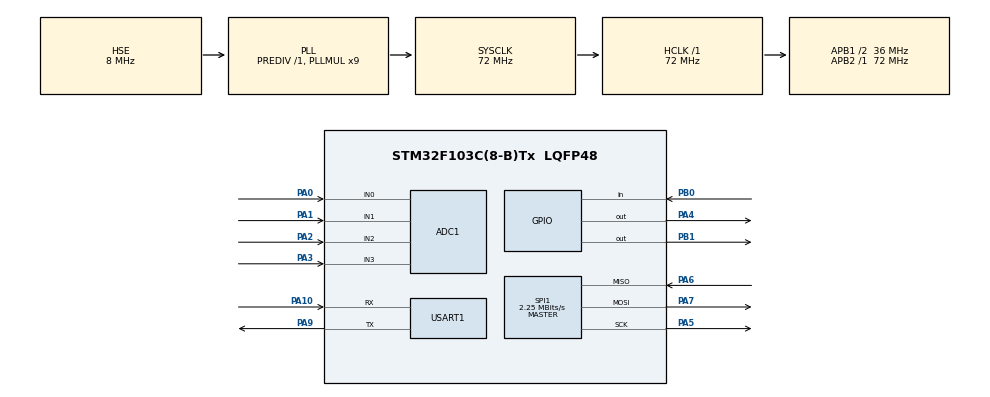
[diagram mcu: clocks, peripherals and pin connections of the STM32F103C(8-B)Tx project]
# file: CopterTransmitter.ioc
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ADC1.Channel-0\#ChannelRegularConversion=ADC_CHANNEL_0
ADC1.Channel-1\#ChannelRegularConversion=ADC_CHANNEL_1
ADC1.Channel-2\#ChannelRegularConversion=ADC_CHANNEL_2
ADC1.Channel-3\#ChannelRegularConversion=ADC_CHANNEL_3
ADC1.ContinuousConvMode=DISABLE
ADC1.ExternalTrigConv=ADC_EXTERNALTRIGCONV_T4_CC4
ADC1.NbrOfConversion=4
ADC1.NbrOfConversionFlag=1
ADC1.Rank-0\#ChannelRegularConversion=1
ADC1.Rank-1\#ChannelRegularConversion=2
ADC1.Rank-2\#ChannelRegularConversion=3
ADC1.Rank-3\#ChannelRegularConversion=4
ADC1.SamplingTime-0\#ChannelRegularConversion=ADC_SAMPLETIME_41CYCLES_5
ADC1.SamplingTime-1\#ChannelRegularConversion=ADC_SAMPLETIME_41CYCLES_5
ADC1.SamplingTime-2\#ChannelRegularConversion=ADC_SAMPLETIME_41CYCLES_5
ADC1.SamplingTime-3\#ChannelRegularConversion=ADC_SAMPLETIME_41CYCLES_5
ADC1.master=1
Dma.ADC1.0.Direction=DMA_PERIPH_TO_MEMORY
Dma.ADC1.0.Instance=DMA1_Channel1
Dma.ADC1.0.MemDataAlignment=DMA_MDATAALIGN_HALFWORD
Dma.ADC1.0.MemInc=DMA_MINC_ENABLE
Dma.ADC1.0.Mode=DMA_CIRCULAR
Dma.ADC1.0.PeriphDataAlignment=DMA_PDATAALIGN_HALFWORD
Dma.ADC1.0.PeriphInc=DMA_PINC_DISABLE
Dma.ADC1.0.Priority=DMA_PRIORITY_LOW
Dma.Request0=ADC1
Mcu.Family=STM32F1
Mcu.Name=STM32F103C(8-B)Tx
Mcu.Package=LQFP48
NVIC.ADC1_2_IRQn=true\:0\:0\:false\:false\:true\:true\:true
NVIC.DMA1_Channel1_IRQn=true\:0\:0\:false\:false\:true\:false\:true
NVIC.PriorityGroup=NVIC_PRIORITYGROUP_4
PA0-WKUP.Signal=ADCx_IN0
PA1.Signal=ADCx_IN1
PA10.Mode=Asynchronous
PA10.Signal=USART1_RX
PA13.Mode=Serial_Wire
PA13.Signal=SYS_JTMS-SWDIO
PA14.Mode=Serial_Wire
PA14.Signal=SYS_JTCK-SWCLK
PA2.Signal=ADCx_IN2
PA3.Signal=ADCx_IN3
PA4.GPIO_PuPd=GPIO_PULLUP
PA4.GPIO_Speed=GPIO_SPEED_FREQ_HIGH
PA4.PinState=GPIO_PIN_SET
PA4.Signal=GPIO_Output
PA5.Mode=Full_Duplex_Master
PA5.Signal=SPI1_SCK
PA6.Mode=Full_Duplex_Master
PA6.Signal=SPI1_MISO
PA7.Mode=Full_Duplex_Master
PA7.Signal=SPI1_MOSI
PA9.Mode=Asynchronous
PA9.Signal=USART1_TX
PB0.Signal=GPIO_Input
PB1.GPIO_Speed=GPIO_SPEED_FREQ_HIGH
PB1.Signal=GPIO_Output
PD0-OSC_IN.Mode=HSE-External-Oscillator
PD0-OSC_IN.Signal=RCC_OSC_IN
PD1-OSC_OUT.Mode=HSE-External-Oscillator
PD1-OSC_OUT.Signal=RCC_OSC_OUT
ProjectManager.HeapSize=0x200
ProjectManager.StackSize=0x400
ProjectManager.TargetToolchain=TrueSTUDIO
RCC.ADCPresc=RCC_ADCPCLK2_DIV6
RCC.AHBFreq_Value=72000000
RCC.APB1CLKDivider=RCC_HCLK_DIV2
RCC.APB1Freq_Value=36000000
RCC.APB1TimFreq_Value=72000000
RCC.APB2Freq_Value=72000000
RCC.APB2TimFreq_Value=72000000
RCC.HCLKFreq_Value=72000000
RCC.PLLMUL=RCC_PLL_MUL9
RCC.PLLSourceVirtual=RCC_PLLSOURCE_HSE
RCC.SYSCLKFreq_VALUE=72000000
RCC.SYSCLKSource=RCC_SYSCLKSOURCE_PLLCLK
RCC.USBFreq_Value=72000000
SH.ADCx_IN0.0=ADC1_IN0,IN0
SH.ADCx_IN1.0=ADC1_IN1,IN1
SH.ADCx_IN2.0=ADC1_IN2,IN2
SH.ADCx_IN3.0=ADC1_IN3,IN3
SPI1.BaudRatePrescaler=SPI_BAUDRATEPRESCALER_32
SPI1.CalculateBaudRate=2.25 MBits/s
SPI1.Direction=SPI_DIRECTION_2LINES
SPI1.Mode=SPI_MODE_MASTER
SPI1.VirtualType=VM_MASTER
TIM4.Channel-Output\ Compare4\ No\ Output=TIM_CHANNEL_4
TIM4.ClockDivision=TIM_CLOCKDIVISION_DIV2
TIM4.OCMode_4=TIM_OCMODE_TOGGLE
TIM4.Period=999
TIM4.Prescaler=35999
USART1.VirtualMode=VM_ASYNC
VP_TIM4_VS_ClockSourceINT.Mode=Internal
VP_TIM4_VS_no_output4.Mode=Output Compare4 No Output
board=custom

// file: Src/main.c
/* USER CODE BEGIN Header */
/**
  ******************************************************************************
  * @file           : main.c
  * @brief          : Main program body
  ******************************************************************************
  * @attention
  *
  * <h2><center>&copy; Copyright (c) 2019 STMicroelectronics.
  * All rights reserved.</center></h2>
  *
  * This software component is licensed by ST under BSD 3-Clause license,
  * the "License"; You may not use this file except in compliance with the
  * License. You may obtain a copy of the License at:
  *                        opensource.org/licenses/BSD-3-Clause
  *
  ******************************************************************************
  */
/* USER CODE END Header */

#include "main.h"
#include "adc.h"
#include "dma.h"
#include "spi.h"
#include "tim.h"
#include "usart.h"
#include "gpio.h"

/* USER CODE BEGIN Includes */
#include "nrf24.h"
#include <string.h>
/* USER CODE END Includes */

/* USER CODE BEGIN PV */
/* Private variables ---------------------------------------------------------*/

char str1[20]={0};
uint8_t buf1[20]={0};

extern ADC_HandleTypeDef hadc1;
extern TIM_HandleTypeDef htim4;
short aData[4];
uint8_t volatile AdcConversionDone = 0;

/* USER CODE END PV */

void SystemClock_Config(void);
/* USER CODE BEGIN PFP */
/* Private function prototypes -----------------------------------------------*/

/* USER CODE END PFP */

/* USER CODE BEGIN 0 */
//uint8_t dt_reg=0;
uint8_t retr_cnt, dt;
uint16_t i=1,retr_cnt_full;
/* USER CODE END 0 */

int main(void)
{

  /* MCU Configuration--------------------------------------------------------*/

  /* Reset of all peripherals, Initializes the Flash interface and the Systick. */
  HAL_Init();

  /* Configure the system clock */
  SystemClock_Config();

  /* Initialize all configured peripherals */
  MX_GPIO_Init();
  MX_DMA_Init();
  MX_USART1_UART_Init();
  MX_SPI1_Init();
  MX_ADC1_Init();
  MX_TIM4_Init();
  /* USER CODE BEGIN 2 */

  NRF24_ini();
  HAL_ADC_Start_DMA(&hadc1,(uint32_t*)aData,4);
  HAL_TIM_OC_Start(&htim4,TIM_CHANNEL_4);
  /* USER CODE END 2 */

  /* Infinite loop */
  while (1)
  {

    /* USER CODE BEGIN 3 */
	  if (AdcConversionDone == 1)
	  {
		  AdcConversionDone = 0;
		  memcpy(buf1,(uint8_t*)aData,4);
		  dt = NRF24L01_Send(buf1);
	  }

  }
  /* USER CODE END 3 */
}

void SystemClock_Config(void)
{
  RCC_OscInitTypeDef RCC_OscInitStruct = {0};
  RCC_ClkInitTypeDef RCC_ClkInitStruct = {0};
  RCC_PeriphCLKInitTypeDef PeriphClkInit = {0};

  /** Initializes the CPU, AHB and APB busses clocks
  */
  RCC_OscInitStruct.OscillatorType = RCC_OSCILLATORTYPE_HSE;
  RCC_OscInitStruct.HSEState = RCC_HSE_ON;
  RCC_OscInitStruct.HSEPredivValue = RCC_HSE_PREDIV_DIV1;
  RCC_OscInitStruct.HSIState = RCC_HSI_ON;
  RCC_OscInitStruct.PLL.PLLState = RCC_PLL_ON;
  RCC_OscInitStruct.PLL.PLLSource = RCC_PLLSOURCE_HSE;
  RCC_OscInitStruct.PLL.PLLMUL = RCC_PLL_MUL9;
  if (HAL_RCC_OscConfig(&RCC_OscInitStruct) != HAL_OK)
  {
    Error_Handler();
  }
  /** Initializes the CPU, AHB and APB busses clocks
  */
  RCC_ClkInitStruct.ClockType = RCC_CLOCKTYPE_HCLK|RCC_CLOCKTYPE_SYSCLK
                              |RCC_CLOCKTYPE_PCLK1|RCC_CLOCKTYPE_PCLK2;
  RCC_ClkInitStruct.SYSCLKSource = RCC_SYSCLKSOURCE_PLLCLK;
  RCC_ClkInitStruct.AHBCLKDivider = RCC_SYSCLK_DIV1;
  RCC_ClkInitStruct.APB1CLKDivider = RCC_HCLK_DIV2;
  RCC_ClkInitStruct.APB2CLKDivider = RCC_HCLK_DIV1;

  if (HAL_RCC_ClockConfig(&RCC_ClkInitStruct, FLASH_LATENCY_2) != HAL_OK)
  {
    Error_Handler();
  }
  PeriphClkInit.PeriphClockSelection = RCC_PERIPHCLK_ADC;
  PeriphClkInit.AdcClockSelection = RCC_ADCPCLK2_DIV6;
  if (HAL_RCCEx_PeriphCLKConfig(&PeriphClkInit) != HAL_OK)
  {
    Error_Handler();
  }
}

/* USER CODE BEGIN 4 */
void HAL_ADC_ConvCpltCallback(ADC_HandleTypeDef* hadc)
{
  AdcConversionDone = 1;
}
/* USER CODE END 4 */

void Error_Handler(void)
{
  while(1)
  {
  }
}

/************************ (C) COPYRIGHT STMicroelectronics *****END OF FILE****/
